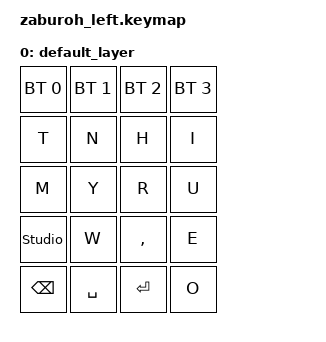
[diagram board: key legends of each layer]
// This file was generated from a template. Edit it to match your keyboard.
// See https://zmk.dev/docs/development/hardware-integration/new-shield for more instructions.

#include <behaviors.dtsi>
#include <dt-bindings/zmk/keys.h>
#include <dt-bindings/zmk/bt.h>

/ {
    // Define a default keymap here.
    // See https://zmk.dev/docs/development/hardware-integration/new-shield#default-keymap.
    keymap {
        compatible = "zmk,keymap";

        default_layer {
            bindings = <
                &bt BT_SEL 0 &bt BT_SEL 1 &bt BT_SEL 2 &bt BT_SEL 3
                &kp T &kp N &kp H &kp I
                &kp M &kp Y &kp R &kp U
                &studio_unlock &kp W &kp COMMA &kp E
                &kp BACKSPACE &kp SPACE &kp RETURN &kp O
            >;
        };
    };
};
